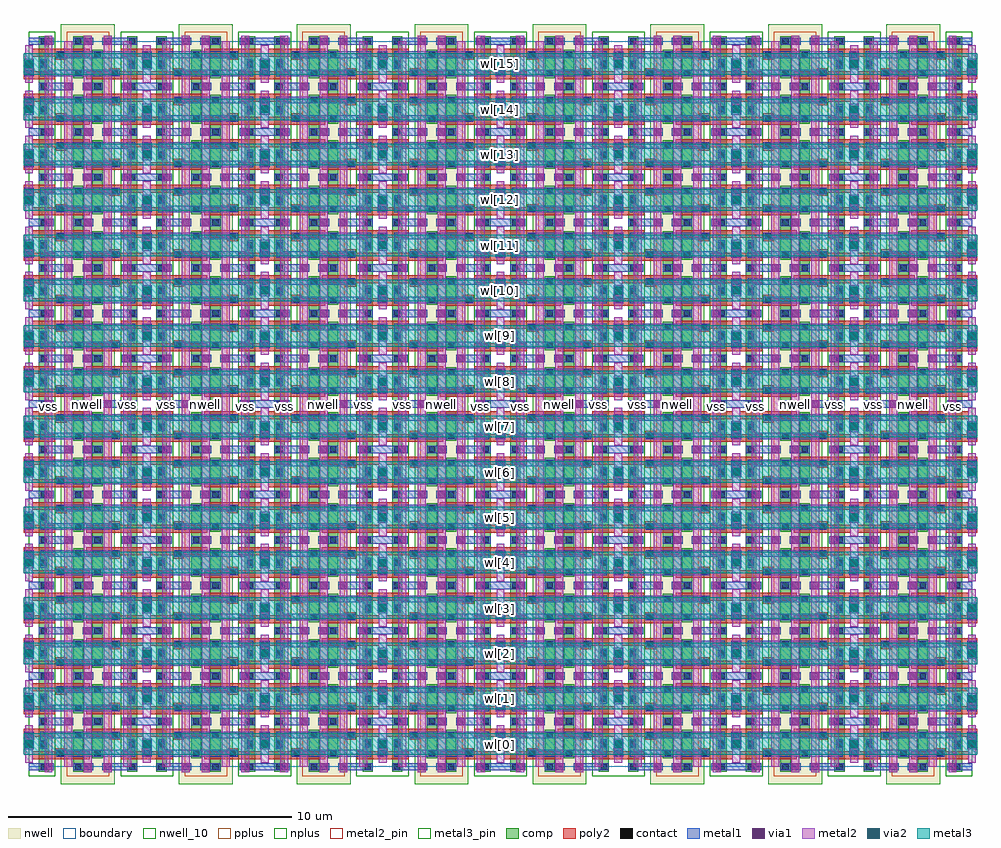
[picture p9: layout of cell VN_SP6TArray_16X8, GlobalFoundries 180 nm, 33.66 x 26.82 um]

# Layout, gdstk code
from math import pi, radians
import gdstk
lib = gdstk.Library(unit=1e-6, precision=1e-09)
def R(c, l, rs):  # rectangles x0, y0, x1, y1
    for r in rs: c.add(gdstk.rectangle(r[:2], r[2:], *l))
def A(c, l, x, y, w, h, nx, ny, dx, dy):  # array of equal rectangles
    R(c, l, [(x+i*dx, y+j*dy, x+i*dx+w, y+j*dy+h) for i in range(nx) for j in range(ny)])
def P(c, l, *ps):  # polygons
    for p in ps: c.add(gdstk.Polygon(p, *l))
boundary = (0, 0)
nwell = (21, 0)
nwell_10 = (21, 10)
comp = (22, 0)
poly2 = (30, 0)
pplus = (31, 0)
nplus = (32, 0)
contact = (33, 0)
metal1 = (34, 0)
via1 = (35, 0)
metal2 = (36, 0)
metal2_pin = (36, 10)
via2 = (38, 0)
metal3 = (42, 0)
metal3_pin = (42, 10)

vn_sp6tcell = lib.new_cell('VN_SP6TCell')
R(vn_sp6tcell, boundary, [(0,0,4.16,1.6)])
R(vn_sp6tcell, nwell, [(1.13,-0.61,3.03,2.21)])
R(vn_sp6tcell, nwell_10, [(1.13,-0.61,3.03,2.21)])
R(vn_sp6tcell, comp, [(0.34,-0.18,0.7,1.78), (2.24,-0.18,2.6,0.84), (3.46,-0.18,3.82,1.78), (1.56,0.295,1.92,0.655), (2.24,0.54,2.6,0.945), (1.56,0.655,1.92,1.06), (1.56,0.76,1.92,1.78), (2.24,0.945,2.6,1.305)])
P(vn_sp6tcell, poly2, [(0.95,0.945),(0.95,1.06),(0.12,1.06),(0.12,1.34),(2.14,1.34),(2.14,1.06),(1.31,1.06),(1.31,0.945)],
  [(3.98,0.945),(3.98,1.06),(3.24,1.06),(3.24,1.34),(4.34,1.34),(4.34,0.945)],
  [(-0.18,0.26),(-0.18,0.655),(0.18,0.655),(0.18,0.54),(0.92,0.54),(0.92,0.26)],
  [(2.02,0.26),(2.02,0.54),(2.85,0.54),(2.85,0.655),(3.21,0.655),(3.21,0.54),(4.04,0.54),(4.04,0.26)])
R(vn_sp6tcell, pplus, [(1.33,-0.34,2.83,1.94)])
R(vn_sp6tcell, nplus, [(0,-0.34,0.93,1.94), (3.23,-0.34,4.16,1.94)])
A(vn_sp6tcell, contact, 0.41, -0.11, 0.22, 0.22, 1, 3, 0, 0.8)
A(vn_sp6tcell, contact, 3.53, -0.11, 0.22, 0.22, 1, 3, 0, 0.8)
R(vn_sp6tcell, contact, [(2.31,-0.11,2.53,0.11), (-0.11,0.365,0.11,0.585), (1.63,0.365,1.85,0.585), (2.92,0.365,3.14,0.585), (1.02,1.015,1.24,1.235), (2.31,1.015,2.53,1.235), (4.05,1.015,4.27,1.235), (1.63,1.49,1.85,1.71)])
R(vn_sp6tcell, metal1, [(0.35,-0.13,1.57,0.13), (1.89,-0.13,2.59,0.13), (3.28,-0.13,4.16,0.13), (-0.17,0.36,0.17,0.99), (3.99,0.61,4.33,1.24), (0,1.47,0.88,1.73), (1.57,1.47,2.27,1.73), (2.59,1.47,3.81,1.73)])
P(vn_sp6tcell, metal1, [(3.525,0.63),(3.525,1.01),(0.96,1.01),(0.96,1.24),(3.755,1.24),(3.755,0.63)],
  [(0.405,0.36),(0.405,0.97),(0.635,0.97),(0.635,0.59),(3.2,0.59),(3.2,0.36)])
R(vn_sp6tcell, via1, [(1.25,-0.13,1.51,0.13), (1.95,-0.13,2.21,0.13), (3.34,-0.13,3.6,0.13), (-0.13,0.67,0.13,0.93), (4.03,0.67,4.29,0.93), (0.56,1.47,0.82,1.73), (1.95,1.47,2.21,1.73), (2.65,1.47,2.91,1.73)])
R(vn_sp6tcell, metal2, [(1.24,-0.19,1.52,1.6), (1.94,-0.19,2.22,1.79), (3.33,-0.19,3.61,1.6), (0.55,0,0.83,1.79), (2.64,0,2.92,1.79), (-0.14,0.14,0.14,1.46), (4.02,0.14,4.3,1.46)])
R(vn_sp6tcell, metal2_pin, [(1.24,-0.19,1.52,1.6), (1.94,-0.19,2.22,1.79), (3.33,-0.19,3.61,1.6), (0.55,0,0.83,1.79), (2.64,0,2.92,1.79)])
R(vn_sp6tcell, via2, [(-0.13,0.67,0.13,0.93), (4.03,0.67,4.29,0.93)])
R(vn_sp6tcell, metal3, [(-0.19,0.42,4.35,1.18)])
R(vn_sp6tcell, metal3_pin, [(-0.19,0.42,4.35,1.18)])
vn_sp6tcell.add(gdstk.Label('nwell', (2.08,0.8), layer=21, texttype=10))
vn_sp6tcell.add(gdstk.Label('wl', (2.08,0.8), layer=42, texttype=10))
vn_sp6tcell.add(gdstk.Label('bl_n', (2.78,0.895), layer=36, texttype=10))
vn_sp6tcell.add(gdstk.Label('vdd', (2.08,0.8), layer=36, texttype=10))
vn_sp6tcell.add(gdstk.Label('vss', (3.47,0.705), layer=36, texttype=10))
vn_sp6tcell.add(gdstk.Label('vss', (0.69,0.895), layer=36, texttype=10))
vn_sp6tcell.add(gdstk.Label('bl', (1.38,0.705), layer=36, texttype=10))

vn_sp6tarray_2x1 = lib.new_cell('VN_SP6TArray_2X1')
R(vn_sp6tarray_2x1, boundary, [(0,0,4.16,3.2)])
R(vn_sp6tarray_2x1, nwell, [(1.13,-0.61,3.03,3.81)])
R(vn_sp6tarray_2x1, nwell_10, [(1.13,-0.61,3.03,3.81)])
R(vn_sp6tarray_2x1, metal2, [(0.55,-0.19,0.83,3.2), (1.94,-0.19,2.22,3.2), (2.64,-0.19,2.92,3.39), (1.24,0,1.52,3.2), (3.33,0,3.61,3.2)])
R(vn_sp6tarray_2x1, metal2_pin, [(0.55,-0.19,0.83,3.2), (1.94,-0.19,2.22,3.2), (2.64,-0.19,2.92,3.39), (1.24,0,1.52,3.2), (3.33,0,3.61,3.2)])
R(vn_sp6tarray_2x1, metal3, [(-0.19,0.42,4.35,1.18), (-0.19,2.02,4.35,2.78)])
R(vn_sp6tarray_2x1, metal3_pin, [(-0.19,0.42,4.35,1.18), (-0.19,2.02,4.35,2.78)])
vn_sp6tarray_2x1.add(gdstk.Reference(vn_sp6tcell, (0,1.6)))
vn_sp6tarray_2x1.add(gdstk.Reference(vn_sp6tcell, (0,1.6), x_reflection=True))
vn_sp6tarray_2x1.add(gdstk.Label('nwell', (2.08,1.6), layer=21, texttype=10))
vn_sp6tarray_2x1.add(gdstk.Label('wl[1]', (2.08,2.4), layer=42, texttype=10))
vn_sp6tarray_2x1.add(gdstk.Label('wl[0]', (2.08,0.8), layer=42, texttype=10))
vn_sp6tarray_2x1.add(gdstk.Label('bl_n[0]', (2.78,1.6), layer=36, texttype=10))
vn_sp6tarray_2x1.add(gdstk.Label('bl[0]', (1.38,1.6), layer=36, texttype=10))
vn_sp6tarray_2x1.add(gdstk.Label('vdd', (2.08,1.505), layer=36, texttype=10))
vn_sp6tarray_2x1.add(gdstk.Label('vss', (0.69,1.505), layer=36, texttype=10))
vn_sp6tarray_2x1.add(gdstk.Label('vss', (3.47,1.6), layer=36, texttype=10))

vn_sp6tarray_2x2 = lib.new_cell('VN_SP6TArray_2X2')
R(vn_sp6tarray_2x2, boundary, [(0,0,8.32,3.2)])
R(vn_sp6tarray_2x2, nwell, [(1.13,-0.61,3.03,3.81), (5.29,-0.61,7.19,3.81)])
R(vn_sp6tarray_2x2, nwell_10, [(1.13,-0.61,3.03,3.81), (5.29,-0.61,7.19,3.81)])
R(vn_sp6tarray_2x2, metal2, [(0.55,-0.19,0.83,3.2), (1.94,-0.19,2.22,3.2), (2.64,-0.19,2.92,3.39), (5.4,-0.19,5.68,3.39), (6.1,-0.19,6.38,3.2), (7.49,-0.19,7.77,3.2), (1.24,0,1.52,3.2), (3.33,0,3.61,3.2), (4.71,0,4.99,3.2), (6.8,0,7.08,3.2)])
R(vn_sp6tarray_2x2, metal2_pin, [(0.55,-0.19,0.83,3.2), (1.94,-0.19,2.22,3.2), (2.64,-0.19,2.92,3.39), (5.4,-0.19,5.68,3.39), (6.1,-0.19,6.38,3.2), (7.49,-0.19,7.77,3.2), (1.24,0,1.52,3.2), (3.33,0,3.61,3.2), (4.71,0,4.99,3.2), (6.8,0,7.08,3.2)])
R(vn_sp6tarray_2x2, metal3, [(-0.19,0.42,8.51,1.18), (-0.19,2.02,8.51,2.78)])
R(vn_sp6tarray_2x2, metal3_pin, [(-0.19,0.42,8.51,1.18), (-0.19,2.02,8.51,2.78)])
vn_sp6tarray_2x2.add(gdstk.Reference(vn_sp6tarray_2x1, (8.32,0), rotation=pi, x_reflection=True))
vn_sp6tarray_2x2.add(gdstk.Reference(vn_sp6tarray_2x1, (0,0)))
vn_sp6tarray_2x2.add(gdstk.Label('nwell', (2.08,1.6), layer=21, texttype=10))
vn_sp6tarray_2x2.add(gdstk.Label('nwell', (6.24,1.6), layer=21, texttype=10))
vn_sp6tarray_2x2.add(gdstk.Label('wl[1]', (4.16,2.4), layer=42, texttype=10))
vn_sp6tarray_2x2.add(gdstk.Label('wl[0]', (4.16,0.8), layer=42, texttype=10))
vn_sp6tarray_2x2.add(gdstk.Label('bl_n[1]', (5.54,1.6), layer=36, texttype=10))
vn_sp6tarray_2x2.add(gdstk.Label('bl[1]', (6.94,1.6), layer=36, texttype=10))
vn_sp6tarray_2x2.add(gdstk.Label('bl_n[0]', (2.78,1.6), layer=36, texttype=10))
vn_sp6tarray_2x2.add(gdstk.Label('bl[0]', (1.38,1.6), layer=36, texttype=10))
vn_sp6tarray_2x2.add(gdstk.Label('vdd', (2.08,1.505), layer=36, texttype=10))
vn_sp6tarray_2x2.add(gdstk.Label('vdd', (6.24,1.505), layer=36, texttype=10))
vn_sp6tarray_2x2.add(gdstk.Label('vss', (0.69,1.505), layer=36, texttype=10))
vn_sp6tarray_2x2.add(gdstk.Label('vss', (7.63,1.505), layer=36, texttype=10))
vn_sp6tarray_2x2.add(gdstk.Label('vss', (3.47,1.6), layer=36, texttype=10))
vn_sp6tarray_2x2.add(gdstk.Label('vss', (4.85,1.6), layer=36, texttype=10))

vn_sp6tarray_4x2 = lib.new_cell('VN_SP6TArray_4X2')
R(vn_sp6tarray_4x2, boundary, [(0,0,8.32,6.4)])
R(vn_sp6tarray_4x2, nwell, [(1.13,-0.61,3.03,7.01), (5.29,-0.61,7.19,7.01)])
R(vn_sp6tarray_4x2, nwell_10, [(1.13,-0.61,3.03,7.01), (5.29,-0.61,7.19,7.01)])
R(vn_sp6tarray_4x2, metal2, [(0.55,-0.19,0.83,6.4), (1.94,-0.19,2.22,6.4), (2.64,-0.19,2.92,6.59), (5.4,-0.19,5.68,6.59), (6.1,-0.19,6.38,6.4), (7.49,-0.19,7.77,6.4), (1.24,0,1.52,6.4), (3.33,0,3.61,6.4), (4.71,0,4.99,6.4), (6.8,0,7.08,6.4)])
R(vn_sp6tarray_4x2, metal2_pin, [(0.55,-0.19,0.83,6.4), (1.94,-0.19,2.22,6.4), (2.64,-0.19,2.92,6.59), (5.4,-0.19,5.68,6.59), (6.1,-0.19,6.38,6.4), (7.49,-0.19,7.77,6.4), (1.24,0,1.52,6.4), (3.33,0,3.61,6.4), (4.71,0,4.99,6.4), (6.8,0,7.08,6.4)])
A(vn_sp6tarray_4x2, metal3, -0.19, 0.42, 8.7, 0.76, 1, 4, 0, 1.6)
A(vn_sp6tarray_4x2, metal3_pin, -0.19, 0.42, 8.7, 0.76, 1, 4, 0, 1.6)
vn_sp6tarray_4x2.add(gdstk.Reference(vn_sp6tarray_2x2, (0,0)))
vn_sp6tarray_4x2.add(gdstk.Reference(vn_sp6tarray_2x2, (0,3.2)))
vn_sp6tarray_4x2.add(gdstk.Label('nwell', (2.08,3.2), layer=21, texttype=10))
vn_sp6tarray_4x2.add(gdstk.Label('nwell', (6.24,3.2), layer=21, texttype=10))
vn_sp6tarray_4x2.add(gdstk.Label('wl[3]', (4.16,5.6), layer=42, texttype=10))
vn_sp6tarray_4x2.add(gdstk.Label('wl[2]', (4.16,4), layer=42, texttype=10))
vn_sp6tarray_4x2.add(gdstk.Label('wl[1]', (4.16,2.4), layer=42, texttype=10))
vn_sp6tarray_4x2.add(gdstk.Label('wl[0]', (4.16,0.8), layer=42, texttype=10))
vn_sp6tarray_4x2.add(gdstk.Label('bl_n[1]', (5.54,3.2), layer=36, texttype=10))
vn_sp6tarray_4x2.add(gdstk.Label('bl[1]', (6.94,3.2), layer=36, texttype=10))
vn_sp6tarray_4x2.add(gdstk.Label('bl_n[0]', (2.78,3.2), layer=36, texttype=10))
vn_sp6tarray_4x2.add(gdstk.Label('bl[0]', (1.38,3.2), layer=36, texttype=10))
vn_sp6tarray_4x2.add(gdstk.Label('vdd', (2.08,3.105), layer=36, texttype=10))
vn_sp6tarray_4x2.add(gdstk.Label('vdd', (6.24,3.105), layer=36, texttype=10))
vn_sp6tarray_4x2.add(gdstk.Label('vss', (0.69,3.105), layer=36, texttype=10))
vn_sp6tarray_4x2.add(gdstk.Label('vss', (7.63,3.105), layer=36, texttype=10))
vn_sp6tarray_4x2.add(gdstk.Label('vss', (3.47,3.2), layer=36, texttype=10))
vn_sp6tarray_4x2.add(gdstk.Label('vss', (4.85,3.2), layer=36, texttype=10))

vn_sp6tarray_4x4 = lib.new_cell('VN_SP6TArray_4X4')
R(vn_sp6tarray_4x4, boundary, [(0,0,16.64,6.4)])
A(vn_sp6tarray_4x4, nwell, 1.13, -0.61, 1.9, 7.62, 4, 1, 4.16, 0)
A(vn_sp6tarray_4x4, nwell_10, 1.13, -0.61, 1.9, 7.62, 4, 1, 4.16, 0)
R(vn_sp6tarray_4x4, metal2, [(0.55,-0.19,0.83,6.4), (1.94,-0.19,2.22,6.4), (2.64,-0.19,2.92,6.59), (5.4,-0.19,5.68,6.59), (6.1,-0.19,6.38,6.4), (7.49,-0.19,7.77,6.4), (8.87,-0.19,9.15,6.4), (10.26,-0.19,10.54,6.4), (10.96,-0.19,11.24,6.59), (13.72,-0.19,14,6.59), (14.42,-0.19,14.7,6.4), (15.81,-0.19,16.09,6.4), (1.24,0,1.52,6.4), (3.33,0,3.61,6.4), (4.71,0,4.99,6.4), (6.8,0,7.08,6.4), (9.56,0,9.84,6.4), (11.65,0,11.93,6.4), (13.03,0,13.31,6.4), (15.12,0,15.4,6.4)])
R(vn_sp6tarray_4x4, metal2_pin, [(0.55,-0.19,0.83,6.4), (1.94,-0.19,2.22,6.4), (2.64,-0.19,2.92,6.59), (5.4,-0.19,5.68,6.59), (6.1,-0.19,6.38,6.4), (7.49,-0.19,7.77,6.4), (8.87,-0.19,9.15,6.4), (10.26,-0.19,10.54,6.4), (10.96,-0.19,11.24,6.59), (13.72,-0.19,14,6.59), (14.42,-0.19,14.7,6.4), (15.81,-0.19,16.09,6.4), (1.24,0,1.52,6.4), (3.33,0,3.61,6.4), (4.71,0,4.99,6.4), (6.8,0,7.08,6.4), (9.56,0,9.84,6.4), (11.65,0,11.93,6.4), (13.03,0,13.31,6.4), (15.12,0,15.4,6.4)])
A(vn_sp6tarray_4x4, metal3, -0.19, 0.42, 17.02, 0.76, 1, 4, 0, 1.6)
A(vn_sp6tarray_4x4, metal3_pin, -0.19, 0.42, 17.02, 0.76, 1, 4, 0, 1.6)
vn_sp6tarray_4x4.add(gdstk.Reference(vn_sp6tarray_4x2, (0,0)))
vn_sp6tarray_4x4.add(gdstk.Reference(vn_sp6tarray_4x2, (8.32,0)))
vn_sp6tarray_4x4.add(gdstk.Label('nwell', (2.08,3.2), layer=21, texttype=10))
vn_sp6tarray_4x4.add(gdstk.Label('nwell', (6.24,3.2), layer=21, texttype=10))
vn_sp6tarray_4x4.add(gdstk.Label('nwell', (10.4,3.2), layer=21, texttype=10))
vn_sp6tarray_4x4.add(gdstk.Label('nwell', (14.56,3.2), layer=21, texttype=10))
vn_sp6tarray_4x4.add(gdstk.Label('wl[3]', (8.32,5.6), layer=42, texttype=10))
vn_sp6tarray_4x4.add(gdstk.Label('wl[2]', (8.32,4), layer=42, texttype=10))
vn_sp6tarray_4x4.add(gdstk.Label('wl[1]', (8.32,2.4), layer=42, texttype=10))
vn_sp6tarray_4x4.add(gdstk.Label('wl[0]', (8.32,0.8), layer=42, texttype=10))
vn_sp6tarray_4x4.add(gdstk.Label('bl_n[3]', (13.86,3.2), layer=36, texttype=10))
vn_sp6tarray_4x4.add(gdstk.Label('bl[3]', (15.26,3.2), layer=36, texttype=10))
vn_sp6tarray_4x4.add(gdstk.Label('bl_n[2]', (11.1,3.2), layer=36, texttype=10))
vn_sp6tarray_4x4.add(gdstk.Label('bl[2]', (9.7,3.2), layer=36, texttype=10))
vn_sp6tarray_4x4.add(gdstk.Label('bl_n[1]', (5.54,3.2), layer=36, texttype=10))
vn_sp6tarray_4x4.add(gdstk.Label('bl[1]', (6.94,3.2), layer=36, texttype=10))
vn_sp6tarray_4x4.add(gdstk.Label('bl_n[0]', (2.78,3.2), layer=36, texttype=10))
vn_sp6tarray_4x4.add(gdstk.Label('bl[0]', (1.38,3.2), layer=36, texttype=10))
vn_sp6tarray_4x4.add(gdstk.Label('vdd', (2.08,3.105), layer=36, texttype=10))
vn_sp6tarray_4x4.add(gdstk.Label('vdd', (6.24,3.105), layer=36, texttype=10))
vn_sp6tarray_4x4.add(gdstk.Label('vdd', (10.4,3.105), layer=36, texttype=10))
vn_sp6tarray_4x4.add(gdstk.Label('vdd', (14.56,3.105), layer=36, texttype=10))
vn_sp6tarray_4x4.add(gdstk.Label('vss', (0.69,3.105), layer=36, texttype=10))
vn_sp6tarray_4x4.add(gdstk.Label('vss', (7.63,3.105), layer=36, texttype=10))
vn_sp6tarray_4x4.add(gdstk.Label('vss', (9.01,3.105), layer=36, texttype=10))
vn_sp6tarray_4x4.add(gdstk.Label('vss', (15.95,3.105), layer=36, texttype=10))
vn_sp6tarray_4x4.add(gdstk.Label('vss', (3.47,3.2), layer=36, texttype=10))
vn_sp6tarray_4x4.add(gdstk.Label('vss', (4.85,3.2), layer=36, texttype=10))
vn_sp6tarray_4x4.add(gdstk.Label('vss', (11.79,3.2), layer=36, texttype=10))
vn_sp6tarray_4x4.add(gdstk.Label('vss', (13.17,3.2), layer=36, texttype=10))

vn_sp6tarray_8x4 = lib.new_cell('VN_SP6TArray_8X4')
R(vn_sp6tarray_8x4, boundary, [(0,0,16.64,12.8)])
A(vn_sp6tarray_8x4, nwell, 1.13, -0.61, 1.9, 14.02, 4, 1, 4.16, 0)
A(vn_sp6tarray_8x4, nwell_10, 1.13, -0.61, 1.9, 14.02, 4, 1, 4.16, 0)
R(vn_sp6tarray_8x4, metal2, [(0.55,-0.19,0.83,12.8), (1.94,-0.19,2.22,12.8), (2.64,-0.19,2.92,12.99), (5.4,-0.19,5.68,12.99), (6.1,-0.19,6.38,12.8), (7.49,-0.19,7.77,12.8), (8.87,-0.19,9.15,12.8), (10.26,-0.19,10.54,12.8), (10.96,-0.19,11.24,12.99), (13.72,-0.19,14,12.99), (14.42,-0.19,14.7,12.8), (15.81,-0.19,16.09,12.8), (1.24,0,1.52,12.8), (3.33,0,3.61,12.8), (4.71,0,4.99,12.8), (6.8,0,7.08,12.8), (9.56,0,9.84,12.8), (11.65,0,11.93,12.8), (13.03,0,13.31,12.8), (15.12,0,15.4,12.8)])
R(vn_sp6tarray_8x4, metal2_pin, [(0.55,-0.19,0.83,12.8), (1.94,-0.19,2.22,12.8), (2.64,-0.19,2.92,12.99), (5.4,-0.19,5.68,12.99), (6.1,-0.19,6.38,12.8), (7.49,-0.19,7.77,12.8), (8.87,-0.19,9.15,12.8), (10.26,-0.19,10.54,12.8), (10.96,-0.19,11.24,12.99), (13.72,-0.19,14,12.99), (14.42,-0.19,14.7,12.8), (15.81,-0.19,16.09,12.8), (1.24,0,1.52,12.8), (3.33,0,3.61,12.8), (4.71,0,4.99,12.8), (6.8,0,7.08,12.8), (9.56,0,9.84,12.8), (11.65,0,11.93,12.8), (13.03,0,13.31,12.8), (15.12,0,15.4,12.8)])
A(vn_sp6tarray_8x4, metal3, -0.19, 0.42, 17.02, 0.76, 1, 8, 0, 1.6)
A(vn_sp6tarray_8x4, metal3_pin, -0.19, 0.42, 17.02, 0.76, 1, 8, 0, 1.6)
vn_sp6tarray_8x4.add(gdstk.Reference(vn_sp6tarray_4x4, (0,0)))
vn_sp6tarray_8x4.add(gdstk.Reference(vn_sp6tarray_4x4, (0,6.4)))
vn_sp6tarray_8x4.add(gdstk.Label('nwell', (2.08,6.4), layer=21, texttype=10))
vn_sp6tarray_8x4.add(gdstk.Label('nwell', (6.24,6.4), layer=21, texttype=10))
vn_sp6tarray_8x4.add(gdstk.Label('nwell', (10.4,6.4), layer=21, texttype=10))
vn_sp6tarray_8x4.add(gdstk.Label('nwell', (14.56,6.4), layer=21, texttype=10))
vn_sp6tarray_8x4.add(gdstk.Label('wl[5]', (8.32,8.8), layer=42, texttype=10))
vn_sp6tarray_8x4.add(gdstk.Label('wl[4]', (8.32,7.2), layer=42, texttype=10))
vn_sp6tarray_8x4.add(gdstk.Label('wl[3]', (8.32,5.6), layer=42, texttype=10))
vn_sp6tarray_8x4.add(gdstk.Label('wl[6]', (8.32,10.4), layer=42, texttype=10))
vn_sp6tarray_8x4.add(gdstk.Label('wl[2]', (8.32,4), layer=42, texttype=10))
vn_sp6tarray_8x4.add(gdstk.Label('wl[7]', (8.32,12), layer=42, texttype=10))
vn_sp6tarray_8x4.add(gdstk.Label('wl[1]', (8.32,2.4), layer=42, texttype=10))
vn_sp6tarray_8x4.add(gdstk.Label('wl[0]', (8.32,0.8), layer=42, texttype=10))
vn_sp6tarray_8x4.add(gdstk.Label('bl_n[3]', (13.86,6.4), layer=36, texttype=10))
vn_sp6tarray_8x4.add(gdstk.Label('bl[3]', (15.26,6.4), layer=36, texttype=10))
vn_sp6tarray_8x4.add(gdstk.Label('bl_n[2]', (11.1,6.4), layer=36, texttype=10))
vn_sp6tarray_8x4.add(gdstk.Label('bl[2]', (9.7,6.4), layer=36, texttype=10))
vn_sp6tarray_8x4.add(gdstk.Label('bl_n[1]', (5.54,6.4), layer=36, texttype=10))
vn_sp6tarray_8x4.add(gdstk.Label('bl[1]', (6.94,6.4), layer=36, texttype=10))
vn_sp6tarray_8x4.add(gdstk.Label('bl_n[0]', (2.78,6.4), layer=36, texttype=10))
vn_sp6tarray_8x4.add(gdstk.Label('bl[0]', (1.38,6.4), layer=36, texttype=10))
vn_sp6tarray_8x4.add(gdstk.Label('vdd', (2.08,6.305), layer=36, texttype=10))
vn_sp6tarray_8x4.add(gdstk.Label('vdd', (6.24,6.305), layer=36, texttype=10))
vn_sp6tarray_8x4.add(gdstk.Label('vdd', (10.4,6.305), layer=36, texttype=10))
vn_sp6tarray_8x4.add(gdstk.Label('vdd', (14.56,6.305), layer=36, texttype=10))
vn_sp6tarray_8x4.add(gdstk.Label('vss', (0.69,6.305), layer=36, texttype=10))
vn_sp6tarray_8x4.add(gdstk.Label('vss', (7.63,6.305), layer=36, texttype=10))
vn_sp6tarray_8x4.add(gdstk.Label('vss', (9.01,6.305), layer=36, texttype=10))
vn_sp6tarray_8x4.add(gdstk.Label('vss', (15.95,6.305), layer=36, texttype=10))
vn_sp6tarray_8x4.add(gdstk.Label('vss', (3.47,6.4), layer=36, texttype=10))
vn_sp6tarray_8x4.add(gdstk.Label('vss', (4.85,6.4), layer=36, texttype=10))
vn_sp6tarray_8x4.add(gdstk.Label('vss', (11.79,6.4), layer=36, texttype=10))
vn_sp6tarray_8x4.add(gdstk.Label('vss', (13.17,6.4), layer=36, texttype=10))

vn_sp6tarray_8x8 = lib.new_cell('VN_SP6TArray_8X8')
R(vn_sp6tarray_8x8, boundary, [(0,0,33.28,12.8)])
A(vn_sp6tarray_8x8, nwell, 1.13, -0.61, 1.9, 14.02, 8, 1, 4.16, 0)
A(vn_sp6tarray_8x8, nwell_10, 1.13, -0.61, 1.9, 14.02, 8, 1, 4.16, 0)
R(vn_sp6tarray_8x8, metal2, [(0.55,-0.19,0.83,12.8), (1.94,-0.19,2.22,12.8), (2.64,-0.19,2.92,12.99), (5.4,-0.19,5.68,12.99), (6.1,-0.19,6.38,12.8), (7.49,-0.19,7.77,12.8), (8.87,-0.19,9.15,12.8), (10.26,-0.19,10.54,12.8), (10.96,-0.19,11.24,12.99), (13.72,-0.19,14,12.99), (14.42,-0.19,14.7,12.8), (15.81,-0.19,16.09,12.8), (17.19,-0.19,17.47,12.8), (18.58,-0.19,18.86,12.8), (19.28,-0.19,19.56,12.99), (22.04,-0.19,22.32,12.99), (22.74,-0.19,23.02,12.8), (24.13,-0.19,24.41,12.8), (25.51,-0.19,25.79,12.8), (26.9,-0.19,27.18,12.8), (27.6,-0.19,27.88,12.99), (30.36,-0.19,30.64,12.99), (31.06,-0.19,31.34,12.8), (32.45,-0.19,32.73,12.8), (1.24,0,1.52,12.8), (3.33,0,3.61,12.8), (4.71,0,4.99,12.8), (6.8,0,7.08,12.8), (9.56,0,9.84,12.8), (11.65,0,11.93,12.8), (13.03,0,13.31,12.8), (15.12,0,15.4,12.8), (17.88,0,18.16,12.8), (19.97,0,20.25,12.8), (21.35,0,21.63,12.8), (23.44,0,23.72,12.8), (26.2,0,26.48,12.8), (28.29,0,28.57,12.8), (29.67,0,29.95,12.8), (31.76,0,32.04,12.8)])
R(vn_sp6tarray_8x8, metal2_pin, [(0.55,-0.19,0.83,12.8), (1.94,-0.19,2.22,12.8), (2.64,-0.19,2.92,12.99), (5.4,-0.19,5.68,12.99), (6.1,-0.19,6.38,12.8), (7.49,-0.19,7.77,12.8), (8.87,-0.19,9.15,12.8), (10.26,-0.19,10.54,12.8), (10.96,-0.19,11.24,12.99), (13.72,-0.19,14,12.99), (14.42,-0.19,14.7,12.8), (15.81,-0.19,16.09,12.8), (17.19,-0.19,17.47,12.8), (18.58,-0.19,18.86,12.8), (19.28,-0.19,19.56,12.99), (22.04,-0.19,22.32,12.99), (22.74,-0.19,23.02,12.8), (24.13,-0.19,24.41,12.8), (25.51,-0.19,25.79,12.8), (26.9,-0.19,27.18,12.8), (27.6,-0.19,27.88,12.99), (30.36,-0.19,30.64,12.99), (31.06,-0.19,31.34,12.8), (32.45,-0.19,32.73,12.8), (1.24,0,1.52,12.8), (3.33,0,3.61,12.8), (4.71,0,4.99,12.8), (6.8,0,7.08,12.8), (9.56,0,9.84,12.8), (11.65,0,11.93,12.8), (13.03,0,13.31,12.8), (15.12,0,15.4,12.8), (17.88,0,18.16,12.8), (19.97,0,20.25,12.8), (21.35,0,21.63,12.8), (23.44,0,23.72,12.8), (26.2,0,26.48,12.8), (28.29,0,28.57,12.8), (29.67,0,29.95,12.8), (31.76,0,32.04,12.8)])
A(vn_sp6tarray_8x8, metal3, -0.19, 0.42, 33.66, 0.76, 1, 8, 0, 1.6)
A(vn_sp6tarray_8x8, metal3_pin, -0.19, 0.42, 33.66, 0.76, 1, 8, 0, 1.6)
vn_sp6tarray_8x8.add(gdstk.Reference(vn_sp6tarray_8x4, (0,0)))
vn_sp6tarray_8x8.add(gdstk.Reference(vn_sp6tarray_8x4, (16.64,0)))
vn_sp6tarray_8x8.add(gdstk.Label('nwell', (2.08,6.4), layer=21, texttype=10))
vn_sp6tarray_8x8.add(gdstk.Label('nwell', (6.24,6.4), layer=21, texttype=10))
vn_sp6tarray_8x8.add(gdstk.Label('nwell', (10.4,6.4), layer=21, texttype=10))
vn_sp6tarray_8x8.add(gdstk.Label('nwell', (14.56,6.4), layer=21, texttype=10))
vn_sp6tarray_8x8.add(gdstk.Label('nwell', (18.72,6.4), layer=21, texttype=10))
vn_sp6tarray_8x8.add(gdstk.Label('nwell', (22.88,6.4), layer=21, texttype=10))
vn_sp6tarray_8x8.add(gdstk.Label('nwell', (27.04,6.4), layer=21, texttype=10))
vn_sp6tarray_8x8.add(gdstk.Label('nwell', (31.2,6.4), layer=21, texttype=10))
vn_sp6tarray_8x8.add(gdstk.Label('wl[5]', (16.64,8.8), layer=42, texttype=10))
vn_sp6tarray_8x8.add(gdstk.Label('wl[4]', (16.64,7.2), layer=42, texttype=10))
vn_sp6tarray_8x8.add(gdstk.Label('wl[3]', (16.64,5.6), layer=42, texttype=10))
vn_sp6tarray_8x8.add(gdstk.Label('wl[6]', (16.64,10.4), layer=42, texttype=10))
vn_sp6tarray_8x8.add(gdstk.Label('wl[2]', (16.64,4), layer=42, texttype=10))
vn_sp6tarray_8x8.add(gdstk.Label('wl[7]', (16.64,12), layer=42, texttype=10))
vn_sp6tarray_8x8.add(gdstk.Label('wl[1]', (16.64,2.4), layer=42, texttype=10))
vn_sp6tarray_8x8.add(gdstk.Label('wl[0]', (16.64,0.8), layer=42, texttype=10))
vn_sp6tarray_8x8.add(gdstk.Label('bl_n[7]', (30.5,6.4), layer=36, texttype=10))
vn_sp6tarray_8x8.add(gdstk.Label('bl_n[6]', (27.74,6.4), layer=36, texttype=10))
vn_sp6tarray_8x8.add(gdstk.Label('bl[6]', (26.34,6.4), layer=36, texttype=10))
vn_sp6tarray_8x8.add(gdstk.Label('bl_n[5]', (22.18,6.4), layer=36, texttype=10))
vn_sp6tarray_8x8.add(gdstk.Label('bl[7]', (31.9,6.4), layer=36, texttype=10))
vn_sp6tarray_8x8.add(gdstk.Label('vss', (0.69,6.305), layer=36, texttype=10))
vn_sp6tarray_8x8.add(gdstk.Label('vss', (9.01,6.305), layer=36, texttype=10))
vn_sp6tarray_8x8.add(gdstk.Label('vss', (17.33,6.305), layer=36, texttype=10))
vn_sp6tarray_8x8.add(gdstk.Label('vss', (25.65,6.305), layer=36, texttype=10))
vn_sp6tarray_8x8.add(gdstk.Label('vss', (7.63,6.305), layer=36, texttype=10))
vn_sp6tarray_8x8.add(gdstk.Label('vss', (15.95,6.305), layer=36, texttype=10))
vn_sp6tarray_8x8.add(gdstk.Label('vss', (24.27,6.305), layer=36, texttype=10))
vn_sp6tarray_8x8.add(gdstk.Label('vss', (32.59,6.305), layer=36, texttype=10))
vn_sp6tarray_8x8.add(gdstk.Label('vss', (3.47,6.4), layer=36, texttype=10))
vn_sp6tarray_8x8.add(gdstk.Label('vss', (11.79,6.4), layer=36, texttype=10))
vn_sp6tarray_8x8.add(gdstk.Label('vss', (20.11,6.4), layer=36, texttype=10))
vn_sp6tarray_8x8.add(gdstk.Label('vss', (28.43,6.4), layer=36, texttype=10))
vn_sp6tarray_8x8.add(gdstk.Label('vss', (4.85,6.4), layer=36, texttype=10))
vn_sp6tarray_8x8.add(gdstk.Label('vss', (13.17,6.4), layer=36, texttype=10))
vn_sp6tarray_8x8.add(gdstk.Label('vss', (21.49,6.4), layer=36, texttype=10))
vn_sp6tarray_8x8.add(gdstk.Label('vss', (29.81,6.4), layer=36, texttype=10))
vn_sp6tarray_8x8.add(gdstk.Label('vdd', (2.08,6.305), layer=36, texttype=10))
vn_sp6tarray_8x8.add(gdstk.Label('vdd', (6.24,6.305), layer=36, texttype=10))
vn_sp6tarray_8x8.add(gdstk.Label('vdd', (10.4,6.305), layer=36, texttype=10))
vn_sp6tarray_8x8.add(gdstk.Label('vdd', (14.56,6.305), layer=36, texttype=10))
vn_sp6tarray_8x8.add(gdstk.Label('vdd', (18.72,6.305), layer=36, texttype=10))
vn_sp6tarray_8x8.add(gdstk.Label('vdd', (22.88,6.305), layer=36, texttype=10))
vn_sp6tarray_8x8.add(gdstk.Label('vdd', (27.04,6.305), layer=36, texttype=10))
vn_sp6tarray_8x8.add(gdstk.Label('vdd', (31.2,6.305), layer=36, texttype=10))
vn_sp6tarray_8x8.add(gdstk.Label('bl_n[4]', (19.42,6.4), layer=36, texttype=10))
vn_sp6tarray_8x8.add(gdstk.Label('bl[0]', (1.38,6.4), layer=36, texttype=10))
vn_sp6tarray_8x8.add(gdstk.Label('bl[5]', (23.58,6.4), layer=36, texttype=10))
vn_sp6tarray_8x8.add(gdstk.Label('bl_n[1]', (5.54,6.4), layer=36, texttype=10))
vn_sp6tarray_8x8.add(gdstk.Label('bl[2]', (9.7,6.4), layer=36, texttype=10))
vn_sp6tarray_8x8.add(gdstk.Label('bl_n[2]', (11.1,6.4), layer=36, texttype=10))
vn_sp6tarray_8x8.add(gdstk.Label('bl_n[0]', (2.78,6.4), layer=36, texttype=10))
vn_sp6tarray_8x8.add(gdstk.Label('bl[3]', (15.26,6.4), layer=36, texttype=10))
vn_sp6tarray_8x8.add(gdstk.Label('bl[1]', (6.94,6.4), layer=36, texttype=10))
vn_sp6tarray_8x8.add(gdstk.Label('bl[4]', (18.02,6.4), layer=36, texttype=10))
vn_sp6tarray_8x8.add(gdstk.Label('bl_n[3]', (13.86,6.4), layer=36, texttype=10))

vn_sp6tarray_16x8 = lib.new_cell('VN_SP6TArray_16X8')
R(vn_sp6tarray_16x8, boundary, [(0,0,33.28,25.6)])
A(vn_sp6tarray_16x8, nwell, 1.13, -0.61, 1.9, 26.82, 8, 1, 4.16, 0)
A(vn_sp6tarray_16x8, nwell_10, 1.13, -0.61, 1.9, 26.82, 8, 1, 4.16, 0)
R(vn_sp6tarray_16x8, metal2, [(0.55,-0.19,0.83,25.6), (1.94,-0.19,2.22,25.6), (2.64,-0.19,2.92,25.79), (5.4,-0.19,5.68,25.79), (6.1,-0.19,6.38,25.6), (7.49,-0.19,7.77,25.6), (8.87,-0.19,9.15,25.6), (10.26,-0.19,10.54,25.6), (10.96,-0.19,11.24,25.79), (13.72,-0.19,14,25.79), (14.42,-0.19,14.7,25.6), (15.81,-0.19,16.09,25.6), (17.19,-0.19,17.47,25.6), (18.58,-0.19,18.86,25.6), (19.28,-0.19,19.56,25.79), (22.04,-0.19,22.32,25.79), (22.74,-0.19,23.02,25.6), (24.13,-0.19,24.41,25.6), (25.51,-0.19,25.79,25.6), (26.9,-0.19,27.18,25.6), (27.6,-0.19,27.88,25.79), (30.36,-0.19,30.64,25.79), (31.06,-0.19,31.34,25.6), (32.45,-0.19,32.73,25.6), (1.24,0,1.52,25.6), (3.33,0,3.61,25.6), (4.71,0,4.99,25.6), (6.8,0,7.08,25.6), (9.56,0,9.84,25.6), (11.65,0,11.93,25.6), (13.03,0,13.31,25.6), (15.12,0,15.4,25.6), (17.88,0,18.16,25.6), (19.97,0,20.25,25.6), (21.35,0,21.63,25.6), (23.44,0,23.72,25.6), (26.2,0,26.48,25.6), (28.29,0,28.57,25.6), (29.67,0,29.95,25.6), (31.76,0,32.04,25.6)])
R(vn_sp6tarray_16x8, metal2_pin, [(0.55,-0.19,0.83,25.6), (1.94,-0.19,2.22,25.6), (2.64,-0.19,2.92,25.79), (5.4,-0.19,5.68,25.79), (6.1,-0.19,6.38,25.6), (7.49,-0.19,7.77,25.6), (8.87,-0.19,9.15,25.6), (10.26,-0.19,10.54,25.6), (10.96,-0.19,11.24,25.79), (13.72,-0.19,14,25.79), (14.42,-0.19,14.7,25.6), (15.81,-0.19,16.09,25.6), (17.19,-0.19,17.47,25.6), (18.58,-0.19,18.86,25.6), (19.28,-0.19,19.56,25.79), (22.04,-0.19,22.32,25.79), (22.74,-0.19,23.02,25.6), (24.13,-0.19,24.41,25.6), (25.51,-0.19,25.79,25.6), (26.9,-0.19,27.18,25.6), (27.6,-0.19,27.88,25.79), (30.36,-0.19,30.64,25.79), (31.06,-0.19,31.34,25.6), (32.45,-0.19,32.73,25.6), (1.24,0,1.52,25.6), (3.33,0,3.61,25.6), (4.71,0,4.99,25.6), (6.8,0,7.08,25.6), (9.56,0,9.84,25.6), (11.65,0,11.93,25.6), (13.03,0,13.31,25.6), (15.12,0,15.4,25.6), (17.88,0,18.16,25.6), (19.97,0,20.25,25.6), (21.35,0,21.63,25.6), (23.44,0,23.72,25.6), (26.2,0,26.48,25.6), (28.29,0,28.57,25.6), (29.67,0,29.95,25.6), (31.76,0,32.04,25.6)])
A(vn_sp6tarray_16x8, metal3, -0.19, 0.42, 33.66, 0.76, 1, 16, 0, 1.6)
A(vn_sp6tarray_16x8, metal3_pin, -0.19, 0.42, 33.66, 0.76, 1, 16, 0, 1.6)
vn_sp6tarray_16x8.add(gdstk.Reference(vn_sp6tarray_8x8, (0,0)))
vn_sp6tarray_16x8.add(gdstk.Reference(vn_sp6tarray_8x8, (0,12.8)))
vn_sp6tarray_16x8.add(gdstk.Label('nwell', (2.08,12.8), layer=21, texttype=10))
vn_sp6tarray_16x8.add(gdstk.Label('nwell', (6.24,12.8), layer=21, texttype=10))
vn_sp6tarray_16x8.add(gdstk.Label('nwell', (10.4,12.8), layer=21, texttype=10))
vn_sp6tarray_16x8.add(gdstk.Label('nwell', (14.56,12.8), layer=21, texttype=10))
vn_sp6tarray_16x8.add(gdstk.Label('nwell', (18.72,12.8), layer=21, texttype=10))
vn_sp6tarray_16x8.add(gdstk.Label('nwell', (22.88,12.8), layer=21, texttype=10))
vn_sp6tarray_16x8.add(gdstk.Label('nwell', (27.04,12.8), layer=21, texttype=10))
vn_sp6tarray_16x8.add(gdstk.Label('nwell', (31.2,12.8), layer=21, texttype=10))
vn_sp6tarray_16x8.add(gdstk.Label('wl[15]', (16.64,24.8), layer=42, texttype=10))
vn_sp6tarray_16x8.add(gdstk.Label('wl[13]', (16.64,21.6), layer=42, texttype=10))
vn_sp6tarray_16x8.add(gdstk.Label('wl[0]', (16.64,0.8), layer=42, texttype=10))
vn_sp6tarray_16x8.add(gdstk.Label('wl[1]', (16.64,2.4), layer=42, texttype=10))
vn_sp6tarray_16x8.add(gdstk.Label('wl[7]', (16.64,12), layer=42, texttype=10))
vn_sp6tarray_16x8.add(gdstk.Label('wl[2]', (16.64,4), layer=42, texttype=10))
vn_sp6tarray_16x8.add(gdstk.Label('wl[3]', (16.64,5.6), layer=42, texttype=10))
vn_sp6tarray_16x8.add(gdstk.Label('wl[4]', (16.64,7.2), layer=42, texttype=10))
vn_sp6tarray_16x8.add(gdstk.Label('wl[9]', (16.64,15.2), layer=42, texttype=10))
vn_sp6tarray_16x8.add(gdstk.Label('wl[6]', (16.64,10.4), layer=42, texttype=10))
vn_sp6tarray_16x8.add(gdstk.Label('wl[10]', (16.64,16.8), layer=42, texttype=10))
vn_sp6tarray_16x8.add(gdstk.Label('wl[5]', (16.64,8.8), layer=42, texttype=10))
vn_sp6tarray_16x8.add(gdstk.Label('wl[8]', (16.64,13.6), layer=42, texttype=10))
vn_sp6tarray_16x8.add(gdstk.Label('wl[11]', (16.64,18.4), layer=42, texttype=10))
vn_sp6tarray_16x8.add(gdstk.Label('wl[14]', (16.64,23.2), layer=42, texttype=10))
vn_sp6tarray_16x8.add(gdstk.Label('wl[12]', (16.64,20), layer=42, texttype=10))
vn_sp6tarray_16x8.add(gdstk.Label('bl_n[7]', (30.5,12.8), layer=36, texttype=10))
vn_sp6tarray_16x8.add(gdstk.Label('bl_n[6]', (27.74,12.8), layer=36, texttype=10))
vn_sp6tarray_16x8.add(gdstk.Label('bl[6]', (26.34,12.8), layer=36, texttype=10))
vn_sp6tarray_16x8.add(gdstk.Label('bl_n[5]', (22.18,12.8), layer=36, texttype=10))
vn_sp6tarray_16x8.add(gdstk.Label('bl[7]', (31.9,12.8), layer=36, texttype=10))
vn_sp6tarray_16x8.add(gdstk.Label('vss', (0.69,12.705), layer=36, texttype=10))
vn_sp6tarray_16x8.add(gdstk.Label('vss', (9.01,12.705), layer=36, texttype=10))
vn_sp6tarray_16x8.add(gdstk.Label('vss', (17.33,12.705), layer=36, texttype=10))
vn_sp6tarray_16x8.add(gdstk.Label('vss', (25.65,12.705), layer=36, texttype=10))
vn_sp6tarray_16x8.add(gdstk.Label('vss', (7.63,12.705), layer=36, texttype=10))
vn_sp6tarray_16x8.add(gdstk.Label('vss', (15.95,12.705), layer=36, texttype=10))
vn_sp6tarray_16x8.add(gdstk.Label('vss', (24.27,12.705), layer=36, texttype=10))
vn_sp6tarray_16x8.add(gdstk.Label('vss', (32.59,12.705), layer=36, texttype=10))
vn_sp6tarray_16x8.add(gdstk.Label('vss', (3.47,12.8), layer=36, texttype=10))
vn_sp6tarray_16x8.add(gdstk.Label('vss', (11.79,12.8), layer=36, texttype=10))
vn_sp6tarray_16x8.add(gdstk.Label('vss', (20.11,12.8), layer=36, texttype=10))
vn_sp6tarray_16x8.add(gdstk.Label('vss', (28.43,12.8), layer=36, texttype=10))
vn_sp6tarray_16x8.add(gdstk.Label('vss', (4.85,12.8), layer=36, texttype=10))
vn_sp6tarray_16x8.add(gdstk.Label('vss', (13.17,12.8), layer=36, texttype=10))
vn_sp6tarray_16x8.add(gdstk.Label('vss', (21.49,12.8), layer=36, texttype=10))
vn_sp6tarray_16x8.add(gdstk.Label('vss', (29.81,12.8), layer=36, texttype=10))
vn_sp6tarray_16x8.add(gdstk.Label('vdd', (2.08,12.705), layer=36, texttype=10))
vn_sp6tarray_16x8.add(gdstk.Label('vdd', (6.24,12.705), layer=36, texttype=10))
vn_sp6tarray_16x8.add(gdstk.Label('vdd', (10.4,12.705), layer=36, texttype=10))
vn_sp6tarray_16x8.add(gdstk.Label('vdd', (14.56,12.705), layer=36, texttype=10))
vn_sp6tarray_16x8.add(gdstk.Label('vdd', (18.72,12.705), layer=36, texttype=10))
vn_sp6tarray_16x8.add(gdstk.Label('vdd', (22.88,12.705), layer=36, texttype=10))
vn_sp6tarray_16x8.add(gdstk.Label('vdd', (27.04,12.705), layer=36, texttype=10))
vn_sp6tarray_16x8.add(gdstk.Label('vdd', (31.2,12.705), layer=36, texttype=10))
vn_sp6tarray_16x8.add(gdstk.Label('bl_n[4]', (19.42,12.8), layer=36, texttype=10))
vn_sp6tarray_16x8.add(gdstk.Label('bl[0]', (1.38,12.8), layer=36, texttype=10))
vn_sp6tarray_16x8.add(gdstk.Label('bl[5]', (23.58,12.8), layer=36, texttype=10))
vn_sp6tarray_16x8.add(gdstk.Label('bl_n[1]', (5.54,12.8), layer=36, texttype=10))
vn_sp6tarray_16x8.add(gdstk.Label('bl[2]', (9.7,12.8), layer=36, texttype=10))
vn_sp6tarray_16x8.add(gdstk.Label('bl_n[2]', (11.1,12.8), layer=36, texttype=10))
vn_sp6tarray_16x8.add(gdstk.Label('bl_n[0]', (2.78,12.8), layer=36, texttype=10))
vn_sp6tarray_16x8.add(gdstk.Label('bl[3]', (15.26,12.8), layer=36, texttype=10))
vn_sp6tarray_16x8.add(gdstk.Label('bl[1]', (6.94,12.8), layer=36, texttype=10))
vn_sp6tarray_16x8.add(gdstk.Label('bl[4]', (18.02,12.8), layer=36, texttype=10))
vn_sp6tarray_16x8.add(gdstk.Label('bl_n[3]', (13.86,12.8), layer=36, texttype=10))

lib.write_gds('VN_SP6TArray_16X8.gds')
